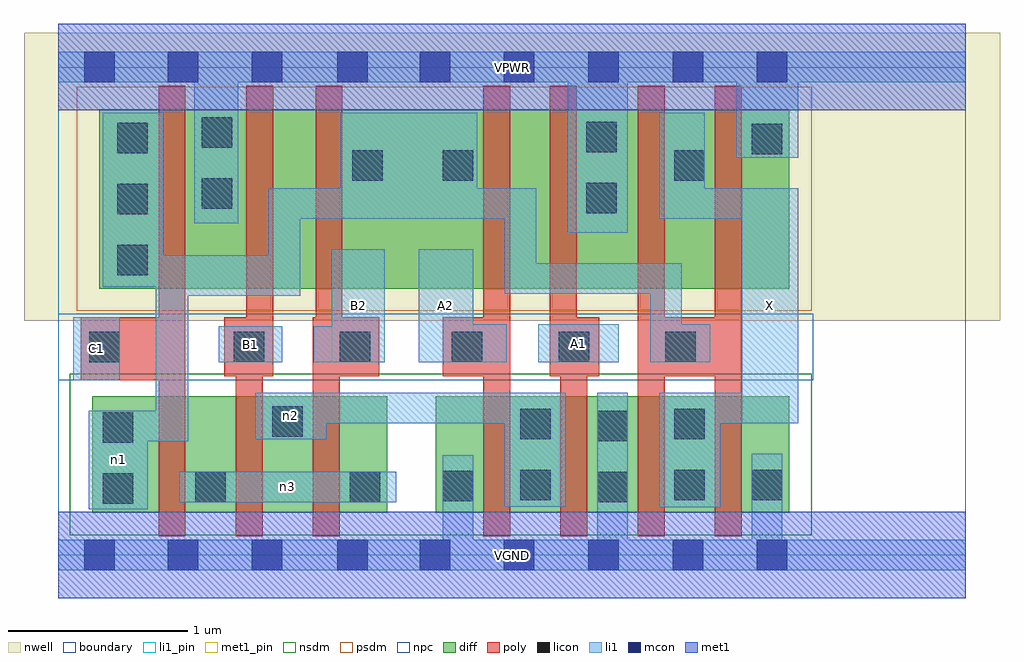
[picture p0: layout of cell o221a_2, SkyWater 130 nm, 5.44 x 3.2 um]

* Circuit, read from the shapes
.subckt o221a_2 A1 A2 B1 B2 C1 VGND VPWR X n1 n2 n3
XM1 n3 C1 n1 VSUBS sky130_fd_pr__nfet_01v8 w=0.65 l=0.15
XM2 n2 B1 n3 VSUBS sky130_fd_pr__nfet_01v8 w=0.65 l=0.15
XM3 n3 B2 n2 VSUBS sky130_fd_pr__nfet_01v8 w=0.65 l=0.15
XM4 n2 A2 VGND VSUBS sky130_fd_pr__nfet_01v8 w=0.65 l=0.15
XM5 VGND A1 n2 VSUBS sky130_fd_pr__nfet_01v8 w=0.65 l=0.15
XM6 X n1 VGND VSUBS sky130_fd_pr__nfet_01v8 w=0.65 l=0.15 m=2
XM7 VPWR C1 n1 n4 sky130_fd_pr__pfet_01v8 w=1 l=0.15
XM8 n5 B1 VPWR n4 sky130_fd_pr__pfet_01v8 w=1 l=0.15
XM9 n1 B2 n5 n4 sky130_fd_pr__pfet_01v8 w=1 l=0.15
XM10 n6 A2 n1 n4 sky130_fd_pr__pfet_01v8 w=1 l=0.15
XM11 VPWR A1 n6 n4 sky130_fd_pr__pfet_01v8 w=1 l=0.15
XM12 X n1 VPWR n4 sky130_fd_pr__pfet_01v8 w=1 l=0.15 m=2
.ends

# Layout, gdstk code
import gdstk
lib = gdstk.Library(unit=1e-6, precision=1e-09)
def R(c, l, rs):  # rectangles x0, y0, x1, y1
    for r in rs: c.add(gdstk.rectangle(r[:2], r[2:], *l))
def A(c, l, x, y, w, h, nx, ny, dx, dy):  # array of equal rectangles
    R(c, l, [(x+i*dx, y+j*dy, x+i*dx+w, y+j*dy+h) for i in range(nx) for j in range(ny)])
nwell = (64, 20)
diff = (65, 20)
poly = (66, 20)
licon = (66, 44)
li1_pin = (67, 16)
li1 = (67, 20)
mcon = (67, 44)
met1_pin = (68, 16)
met1 = (68, 20)
nsdm = (93, 44)
psdm = (94, 20)
npc = (95, 20)
boundary = (235, 4)

o221a_2 = lib.new_cell('o221a_2')
R(o221a_2, nwell, [(-0.19,1.305,5.25,2.91), (0,1.305,5.06,2.91)])
R(o221a_2, diff, [(0.19,0.235,1.835,0.885), (2.105,0.235,4.075,0.885), (0.23,1.485,4.075,2.485)])
R(o221a_2, poly, [(0.56,0.105,0.71,2.615), (0.99,0.105,1.14,1.325), (1.42,0.105,1.57,1.325), (2.37,0.105,2.52,2.615), (2.8,0.105,2.95,1.325), (3.23,0.105,3.38,2.615), (3.66,0.105,3.81,2.615), (0.125,0.975,0.71,1.325), (0.925,0.995,1.2,1.325), (1.05,0.995,1.2,2.615), (1.42,0.995,1.79,1.325), (1.435,0.995,1.585,2.615), (2.145,0.995,2.52,1.325), (2.74,0.995,3.015,1.325), (2.74,0.995,2.89,2.615), (3.23,0.995,3.81,1.325)])
A(o221a_2, licon, 2.195, 1.075, 0.17, 0.17, 3, 1, 0.595, 0)
A(o221a_2, licon, 0.33, 1.56, 0.17, 0.17, 1, 3, 0, 0.34)
R(o221a_2, licon, [(0.25,0.285,0.42,0.455), (0.765,0.295,0.935,0.465), (1.625,0.295,1.795,0.465), (3.005,0.295,3.175,0.465), (2.145,0.3,2.315,0.47), (2.575,0.305,2.745,0.475), (3.435,0.305,3.605,0.475), (3.865,0.305,4.035,0.475), (0.25,0.625,0.42,0.795), (3.005,0.635,3.175,0.805), (2.575,0.645,2.745,0.815), (3.435,0.645,3.605,0.815), (1.195,0.66,1.365,0.83), (0.175,1.075,0.345,1.245), (0.98,1.075,1.15,1.245), (1.57,1.075,1.74,1.245), (2.945,1.905,3.115,2.075), (0.8,1.93,0.97,2.1), (1.64,2.085,1.81,2.255), (2.145,2.085,2.315,2.255), (3.435,2.085,3.605,2.255), (3.865,2.235,4.035,2.405), (2.945,2.245,3.115,2.415), (0.8,2.27,0.97,2.44)])
R(o221a_2, li1_pin, [(3.81,0.735,4.125,2.045), (0.085,0.975,0.345,1.325), (0.895,1.075,1.25,1.275), (1.525,1.075,1.82,1.705), (2.01,1.075,2.315,1.705), (2.675,1.075,3.125,1.285)])
R(o221a_2, li1, [(0,-0.085,5.06,0.085), (2.145,-0.085,2.315,0.555), (3.005,-0.085,3.175,0.905), (3.865,-0.085,4.035,0.565), (0.17,0.255,0.5,0.805), (3.35,0.265,3.69,0.905), (2.49,0.27,2.83,0.905), (0.675,0.295,1.885,0.465), (0.17,0.635,0.725,0.805), (0.545,0.635,0.725,1.67), (1.1,0.645,1.495,0.905), (1.1,0.735,2.83,0.905), (3.35,0.735,4.125,0.905), (3.81,0.735,4.125,2.045), (0.085,0.975,0.345,1.325), (0.895,1.075,1.25,1.275), (1.425,1.075,1.82,1.275), (1.525,1.075,1.82,1.705), (2.01,1.075,2.315,1.705), (2.01,1.075,2.5,1.285), (2.675,1.075,3.125,1.285), (3.3,1.075,3.635,1.285), (3.3,1.075,3.475,1.625), (0.545,1.445,1.35,1.67), (1.175,1.445,1.35,2.045), (2.49,1.455,3.475,1.625), (2.49,1.455,2.665,2.045), (0.25,1.495,0.585,2.465), (2.84,1.795,3.175,2.805), (0.76,1.85,1.005,2.805), (1.175,1.875,2.665,2.045), (1.575,1.875,2.335,2.465), (3.35,1.875,4.125,2.045), (3.35,1.875,3.605,2.465), (3.78,2.215,4.125,2.805), (0,2.635,5.06,2.805)])
A(o221a_2, mcon, 2.015, -0.085, 0.17, 0.17, 5, 2, 0.47, 2.72)
R(o221a_2, mcon, [(0.145,-0.085,0.315,0.085), (0.61,-0.085,0.78,0.085), (1.08,-0.085,1.25,0.085), (1.555,-0.085,1.725,0.085), (0.145,2.635,0.315,2.805), (0.61,2.635,0.78,2.805), (1.08,2.635,1.25,2.805), (1.555,2.635,1.725,2.805)])
R(o221a_2, met1_pin, [(0,-0.24,5.06,0.24), (0,2.48,5.06,2.96)])
R(o221a_2, met1, [(0,-0.24,5.06,0.24), (0,2.48,5.06,2.96)])
R(o221a_2, nsdm, [(0.065,0.11,4.2,1.01)])
R(o221a_2, psdm, [(0.105,1.36,4.2,2.61)])
R(o221a_2, npc, [(0,0.975,4.21,1.345)])
R(o221a_2, boundary, [(0,0,5.06,2.72)])
o221a_2.add(gdstk.Label('A1', (2.9,1.18), layer=67, texttype=5))
o221a_2.add(gdstk.Label('A2', (2.162,1.39), layer=67, texttype=5))
o221a_2.add(gdstk.Label('B1', (1.072,1.175), layer=67, texttype=5))
o221a_2.add(gdstk.Label('B2', (1.672,1.39), layer=67, texttype=5))
o221a_2.add(gdstk.Label('C1', (0.215,1.15), layer=67, texttype=5))
o221a_2.add(gdstk.Label('X', (3.967,1.39), layer=67, texttype=5))
o221a_2.add(gdstk.Label('n3', (1.28,0.38), layer=67, texttype=5))
o221a_2.add(gdstk.Label('n2', (1.297,0.775), layer=67, texttype=5))
o221a_2.add(gdstk.Label('n1', (0.335,0.53), layer=67, texttype=5))
o221a_2.add(gdstk.Label('VPWR', (2.53,2.72), layer=68, texttype=5))
o221a_2.add(gdstk.Label('VGND', (2.53,0), layer=68, texttype=5))
o221a_2.add(gdstk.Label('A1', (2.9,1.18), layer=67, texttype=16))
o221a_2.add(gdstk.Label('A2', (2.162,1.39), layer=67, texttype=16))
o221a_2.add(gdstk.Label('B1', (1.072,1.175), layer=67, texttype=16))
o221a_2.add(gdstk.Label('B2', (1.672,1.39), layer=67, texttype=16))
o221a_2.add(gdstk.Label('C1', (0.215,1.15), layer=67, texttype=16))
o221a_2.add(gdstk.Label('X', (3.967,1.39), layer=67, texttype=16))
o221a_2.add(gdstk.Label('VPWR', (2.53,2.72), layer=68, texttype=16))
o221a_2.add(gdstk.Label('VGND', (2.53,0), layer=68, texttype=16))

lib.write_gds('o221a_2.gds')
